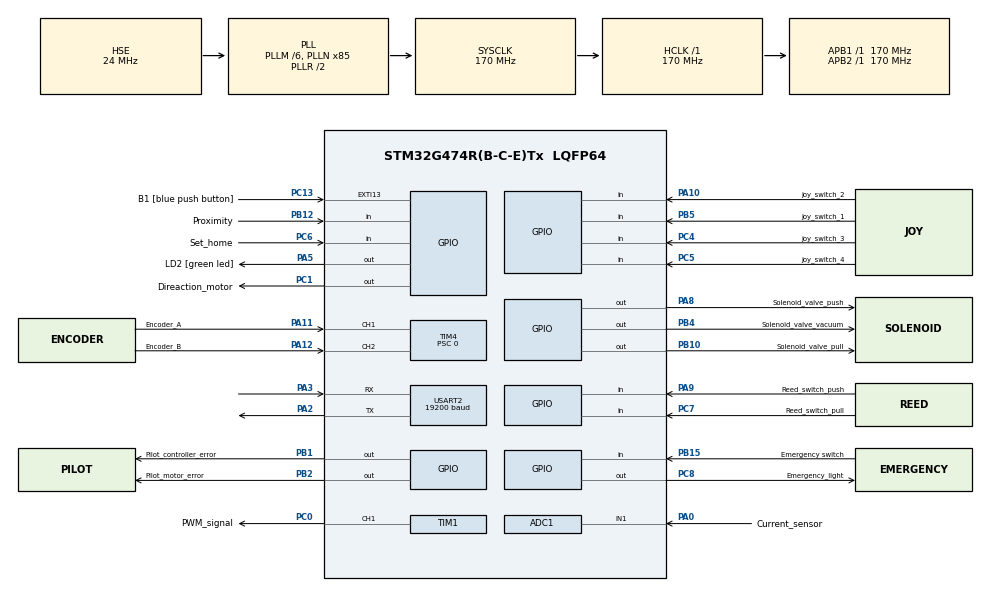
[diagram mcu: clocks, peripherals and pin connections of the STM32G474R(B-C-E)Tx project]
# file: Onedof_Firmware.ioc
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ADC1.Channel-0\#ChannelRegularConversion=ADC_CHANNEL_1
ADC1.ContinuousConvMode=ENABLE
ADC1.DMAContinuousRequests=ENABLE
ADC1.NbrOfConversion=1
ADC1.NbrOfConversionFlag=1
ADC1.OffsetNumber-0\#ChannelRegularConversion=ADC_OFFSET_NONE
ADC1.Rank-0\#ChannelRegularConversion=1
ADC1.SamplingTime-0\#ChannelRegularConversion=ADC_SAMPLETIME_2CYCLES_5
ADC1.master=1
ARM.CMSIS-DSP.1.15.0.CMSISJjDSP=Source
ARM.CMSIS.6.0.0.CMSISJjCORE=true
Dma.ADC1.0.Direction=DMA_PERIPH_TO_MEMORY
Dma.ADC1.0.EventEnable=DISABLE
Dma.ADC1.0.Instance=DMA1_Channel1
Dma.ADC1.0.MemDataAlignment=DMA_MDATAALIGN_HALFWORD
Dma.ADC1.0.MemInc=DMA_MINC_ENABLE
Dma.ADC1.0.Mode=DMA_CIRCULAR
Dma.ADC1.0.PeriphDataAlignment=DMA_PDATAALIGN_HALFWORD
Dma.ADC1.0.PeriphInc=DMA_PINC_DISABLE
Dma.ADC1.0.Polarity=HAL_DMAMUX_REQ_GEN_RISING
Dma.ADC1.0.Priority=DMA_PRIORITY_LOW
Dma.ADC1.0.RequestNumber=1
Dma.ADC1.0.SignalID=NONE
Dma.ADC1.0.SyncEnable=DISABLE
Dma.ADC1.0.SyncPolarity=HAL_DMAMUX_SYNC_NO_EVENT
Dma.ADC1.0.SyncRequestNumber=1
Dma.ADC1.0.SyncSignalID=NONE
Dma.Request0=ADC1
Dma.Request1=USART2_RX
Dma.Request2=USART2_TX
Dma.Request3=TIM1_CH1
Dma.TIM1_CH1.3.Direction=DMA_MEMORY_TO_PERIPH
Dma.TIM1_CH1.3.EventEnable=DISABLE
Dma.TIM1_CH1.3.Instance=DMA1_Channel4
Dma.TIM1_CH1.3.MemDataAlignment=DMA_MDATAALIGN_HALFWORD
Dma.TIM1_CH1.3.MemInc=DMA_MINC_ENABLE
Dma.TIM1_CH1.3.Mode=DMA_NORMAL
Dma.TIM1_CH1.3.PeriphDataAlignment=DMA_PDATAALIGN_HALFWORD
Dma.TIM1_CH1.3.PeriphInc=DMA_PINC_DISABLE
Dma.TIM1_CH1.3.Polarity=HAL_DMAMUX_REQ_GEN_RISING
Dma.TIM1_CH1.3.Priority=DMA_PRIORITY_LOW
Dma.TIM1_CH1.3.RequestNumber=1
Dma.TIM1_CH1.3.SignalID=NONE
Dma.TIM1_CH1.3.SyncEnable=DISABLE
Dma.TIM1_CH1.3.SyncPolarity=HAL_DMAMUX_SYNC_NO_EVENT
Dma.TIM1_CH1.3.SyncRequestNumber=1
Dma.TIM1_CH1.3.SyncSignalID=NONE
Dma.USART2_RX.1.Direction=DMA_PERIPH_TO_MEMORY
Dma.USART2_RX.1.EventEnable=DISABLE
Dma.USART2_RX.1.Instance=DMA1_Channel2
Dma.USART2_RX.1.MemDataAlignment=DMA_MDATAALIGN_BYTE
Dma.USART2_RX.1.MemInc=DMA_MINC_ENABLE
Dma.USART2_RX.1.Mode=DMA_NORMAL
Dma.USART2_RX.1.PeriphDataAlignment=DMA_PDATAALIGN_BYTE
Dma.USART2_RX.1.PeriphInc=DMA_PINC_DISABLE
Dma.USART2_RX.1.Polarity=HAL_DMAMUX_REQ_GEN_RISING
Dma.USART2_RX.1.Priority=DMA_PRIORITY_LOW
Dma.USART2_RX.1.RequestNumber=1
Dma.USART2_RX.1.SignalID=NONE
Dma.USART2_RX.1.SyncEnable=DISABLE
Dma.USART2_RX.1.SyncPolarity=HAL_DMAMUX_SYNC_NO_EVENT
Dma.USART2_RX.1.SyncRequestNumber=1
Dma.USART2_RX.1.SyncSignalID=NONE
Dma.USART2_TX.2.Direction=DMA_MEMORY_TO_PERIPH
Dma.USART2_TX.2.EventEnable=DISABLE
Dma.USART2_TX.2.Instance=DMA1_Channel3
Dma.USART2_TX.2.MemDataAlignment=DMA_MDATAALIGN_BYTE
Dma.USART2_TX.2.MemInc=DMA_MINC_ENABLE
Dma.USART2_TX.2.Mode=DMA_NORMAL
Dma.USART2_TX.2.PeriphDataAlignment=DMA_PDATAALIGN_BYTE
Dma.USART2_TX.2.PeriphInc=DMA_PINC_DISABLE
Dma.USART2_TX.2.Polarity=HAL_DMAMUX_REQ_GEN_RISING
Dma.USART2_TX.2.Priority=DMA_PRIORITY_LOW
Dma.USART2_TX.2.RequestNumber=1
Dma.USART2_TX.2.SignalID=NONE
Dma.USART2_TX.2.SyncEnable=DISABLE
Dma.USART2_TX.2.SyncPolarity=HAL_DMAMUX_SYNC_NO_EVENT
Dma.USART2_TX.2.SyncRequestNumber=1
Dma.USART2_TX.2.SyncSignalID=NONE
Mcu.Family=STM32G4
Mcu.Name=STM32G474R(B-C-E)Tx
Mcu.Package=LQFP64
NVIC.ADC1_2_IRQn=true\:0\:0\:false\:false\:true\:true\:true\:true
NVIC.DMA1_Channel1_IRQn=true\:0\:0\:false\:false\:true\:false\:true\:true
NVIC.DMA1_Channel2_IRQn=true\:0\:0\:false\:false\:true\:false\:true\:true
NVIC.DMA1_Channel3_IRQn=true\:0\:0\:false\:false\:true\:false\:true\:true
NVIC.DMA1_Channel4_IRQn=true\:0\:0\:false\:false\:true\:false\:true\:true
NVIC.EXTI15_10_IRQn=true\:0\:0\:false\:false\:true\:true\:true\:true
NVIC.PriorityGroup=NVIC_PRIORITYGROUP_4
NVIC.TIM1_TRG_COM_TIM17_IRQn=true\:0\:0\:false\:false\:true\:true\:true\:true
NVIC.TIM1_UP_TIM16_IRQn=true\:0\:0\:false\:false\:true\:true\:true\:true
NVIC.TIM3_IRQn=true\:0\:0\:false\:false\:true\:true\:true\:true
NVIC.TIM4_IRQn=true\:0\:0\:false\:false\:true\:true\:true\:true
NVIC.USART2_IRQn=true\:0\:0\:false\:false\:true\:true\:true\:true
PA0.GPIO_Label=Current_sensor
PA0.Mode=IN1-Single-Ended
PA0.Signal=ADC1_IN1
PA10.GPIO_Label=joy_switch_2
PA10.Signal=GPIO_Input
PA11.GPIO_Label=Encoder_A
PA11.Signal=S_TIM4_CH1
PA12.GPIO_Label=Encoder_B
PA12.Signal=S_TIM4_CH2
PA13.GPIO_Label=T_SWDIO
PA13.Mode=Trace_Asynchronous_SW
PA13.Signal=SYS_JTMS-SWDIO
PA14.GPIO_Label=T_SWCLK
PA14.Mode=Trace_Asynchronous_SW
PA14.Signal=SYS_JTCK-SWCLK
PA2.Mode=Asynchronous
PA2.Signal=USART2_TX
PA3.Mode=Asynchronous
PA3.Signal=USART2_RX
PA5.GPIO_Label=LD2 [green led]
PA5.Signal=GPIO_Output
PA8.GPIO_Label=Solenoid_valve_push
PA8.Signal=GPIO_Output
PA9.GPIO_Label=Reed_switch_push
PA9.Signal=GPIO_Input
PB1.GPIO_Label=Pilot_controller_error
PB1.Signal=GPIO_Output
PB10.GPIO_Label=Solenoid_valve_pull
PB10.Signal=GPIO_Output
PB12.GPIO_Label=Proximity
PB12.Signal=GPIO_Input
PB15.GPIO_Label=Emergency switch
PB15.Signal=GPIO_Input
PB2.GPIO_Label=Pilot_motor_error
PB2.Signal=GPIO_Output
PB3.GPIO_Label=T_SWO
PB3.Mode=Trace_Asynchronous_SW
PB3.Signal=SYS_JTDO-SWO
PB4.GPIO_Label=Solenoid_valve_vacuum
PB4.Signal=GPIO_Output
PB5.GPIO_Label=joy_switch_1
PB5.Signal=GPIO_Input
PC0.GPIO_Label=PWM_signal
PC0.Signal=S_TIM1_CH1
PC1.GPIO_Label=Direaction_motor
PC1.GPIO_Speed=GPIO_SPEED_FREQ_VERY_HIGH
PC1.Signal=GPIO_Output
PC13.GPIO_Label=B1 [blue push button]
PC13.Signal=GPXTI13
PC14-OSC32_IN.Mode=LSE-External-Oscillator
PC14-OSC32_IN.Signal=RCC_OSC32_IN
PC15-OSC32_OUT.Mode=LSE-External-Oscillator
PC15-OSC32_OUT.Signal=RCC_OSC32_OUT
PC4.GPIO_Label=joy_switch_3
PC4.Signal=GPIO_Input
PC5.GPIO_Label=joy_switch_4
PC5.Signal=GPIO_Input
PC6.GPIO_Label=Set_home
PC6.Signal=GPIO_Input
PC7.GPIO_Label=Reed_switch_pull
PC7.Signal=GPIO_Input
PC8.GPIO_Label=Emergency_light
PC8.Signal=GPIO_Output
PF0-OSC_IN.Mode=HSE-External-Oscillator
PF0-OSC_IN.Signal=RCC_OSC_IN
PF1-OSC_OUT.Mode=HSE-External-Oscillator
PF1-OSC_OUT.Signal=RCC_OSC_OUT
ProjectManager.HeapSize=0x200
ProjectManager.StackSize=0x400
ProjectManager.TargetToolchain=STM32CubeIDE
RCC.ADC12Freq_Value=170000000
RCC.ADC345Freq_Value=170000000
RCC.AHBFreq_Value=170000000
RCC.APB1Freq_Value=170000000
RCC.APB1TimFreq_Value=170000000
RCC.APB2Freq_Value=170000000
RCC.APB2TimFreq_Value=170000000
RCC.CortexFreq_Value=170000000
RCC.EXTERNAL_CLOCK_VALUE=12288000
RCC.HCLKFreq_Value=170000000
RCC.HSE_VALUE=24000000
RCC.HSI48_VALUE=48000000
RCC.HSI_VALUE=16000000
RCC.PLLM=RCC_PLLM_DIV6
RCC.PLLN=85
RCC.PLLSourceVirtual=RCC_PLLSOURCE_HSE
RCC.RTCClockSelection=RCC_RTCCLKSOURCE_LSE
RCC.SYSCLKFreq_VALUE=170000000
RCC.SYSCLKSource=RCC_SYSCLKSOURCE_PLLCLK
RCC.USBFreq_Value=170000000
RCC.VCOOutputFreq_Value=340000000
SH.S_TIM1_CH1.0=TIM1_CH1,PWM Generation1 CH1
SH.S_TIM4_CH1.0=TIM4_CH1,Encoder_Interface
SH.S_TIM4_CH2.0=TIM4_CH2,Encoder_Interface
TIM1.BreakState=TIM_BREAK_DISABLE
TIM1.Channel-PWM\ Generation1\ CH1=TIM_CHANNEL_1
TIM1.OCFastMode_PWM-PWM\ Generation1\ CH1=TIM_OCFAST_ENABLE
TIM1.PeriodNoDither=65535
TIM1.Prescaler=3
TIM16.PeriodNoDither=1145
TIM16.Prescaler=169
TIM3.PeriodNoDither=999
TIM3.Prescaler=169
TIM4.EncoderMode=TIM_ENCODERMODE_TI12
TIM4.IC1Filter=3
TIM4.IC2Filter=3
TIM4.IC2Polarity=TIM_ICPOLARITY_RISING
TIM4.Prescaler=0
USART2.BaudRate=19200
USART2.Parity=PARITY_EVEN
USART2.VirtualMode-Asynchronous=VM_ASYNC
USART2.WordLength=WORDLENGTH_9B
VP_ARM.CMSIS-DSP_VS_CMSISJjDSP_1.15.0_1.15.0.Mode=CMSISJjDSP
VP_ARM.CMSIS_VS_CMSISJjCORE_6.0.0_6.0.0.Mode=CMSISJjCORE
VP_SYS_VS_DBSignals.Mode=DisableDeadBatterySignals
VP_TIM16_VS_ClockSourceINT.Mode=Enable_Timer
VP_TIM16_VS_OPM.Mode=OPM_bit
VP_TIM1_VS_ClockSourceINT.Mode=Internal
VP_TIM3_VS_ClockSourceINT.Mode=Internal
board=NUCLEO-G474RE

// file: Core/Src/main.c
/* USER CODE BEGIN Header */
/**
  ******************************************************************************
  * @file           : main.c
  * @brief          : Main program body
  ******************************************************************************
  * @attention
  *
  * Copyright (c) 2024 STMicroelectronics.
  * All rights reserved.
  *
  * This software is licensed under terms that can be found in the LICENSE file
  * in the root directory of this software component.
  * If no LICENSE file comes with this software, it is provided AS-IS.
  *
  ******************************************************************************
  */
/* USER CODE END Header */
#include "main.h"

/* USER CODE BEGIN Includes */
#include "arm_math.h"
#include "pid.h"
#include "qei.h"
#include "lowpass.h"
#include "pwm.h"
#include "adc.h"
#include "joy.h"
#include "eff.h"
#include "ModBusRTU.h"
#include "Basesystem.h"
#include "state.h"
#include "Scurve.h"
#include "Trapezoidal.h"
#include "kalman_saifah.h"
#include "kalman.h"
/* USER CODE END Includes */

/* USER CODE BEGIN PD */
#define encoder_tim				htim4
#define encoder_channel			TIM_CHANNEL_ALL
#define encoder_ppr				((uint16_t)8192)
#define encoder_frequency		((uint16_t)1000)
#define encoder_cnt_period		((uint32_t)65536)

#define	proximity_gpio			GPIOB
#define proximity_pin			GPIO_PIN_12

#define reed_push_gpio			GPIOA
#define reed_push_pin			GPIO_PIN_9
#define reed_pull_gpio			GPIOC
#define reed_pull_pin			GPIO_PIN_7
#define solenoid_push_gpio		GPIOA
#define solenoid_push_pin		GPIO_PIN_8
#define solenoid_pull_gpio		GPIOB
#define solenoid_pull_pin		GPIO_PIN_10
#define vacuum_gpio				GPIOB
#define vacuum_pin				GPIO_PIN_4

#define current_gpio			GPIOA
#define current_pin				GPIO_PIN_0
#define current_adc				hadc1

#define pwm_tim					htim1
#define pwm_channel				TIM_CHANNEL_1
#define dir_gpio				GPIOC
#define dir_pin					GPIO_PIN_1

#define controller_error_gpio	GPIOB
#define controller_error_pin	GPIO_PIN_2
#define motor_error_gpio		GPIOB
#define motor_error_pin			GPIO_PIN_1
#define emer_light_gpio			GPIOC
#define emer_light_pin			GPIO_PIN_8
#define emer_gpio				GPIOB
#define emer_pin				GPIO_PIN_15
#define home_gpio				GPIOC
#define home_pin				GPIO_PIN_6

#define sw_1_gpio				GPIOB
#define sw_1_pin				GPIO_PIN_5
#define sw_2_gpio				GPIOA
#define sw_2_pin				GPIO_PIN_10
#define sw_3_gpio				GPIOC
#define sw_3_pin				GPIO_PIN_4
#define sw_4_gpio				GPIOC
#define sw_4_pin				GPIO_PIN_5

#define main_loop_tim			htim3
#define modbus_tim				htim5

/* USER CODE END PD */

ADC_HandleTypeDef hadc1;
DMA_HandleTypeDef hdma_adc1;

TIM_HandleTypeDef htim1;
TIM_HandleTypeDef htim3;
TIM_HandleTypeDef htim4;
TIM_HandleTypeDef htim16;
DMA_HandleTypeDef hdma_tim1_ch1;

UART_HandleTypeDef huart2;
DMA_HandleTypeDef hdma_usart2_rx;
DMA_HandleTypeDef hdma_usart2_tx;

/* USER CODE BEGIN PV */

// Temporary variable
uint64_t repeat_cheack = 0;
uint32_t limitswitch_test = 0;
float64_t test = 0.0;
float min_error = 1000;
uint64_t pid_time[2] = {0};
uint64_t sensor[6] = {0};
uint8_t first_check = 1;

// Set point
double setpoint = 0.0;

// State
enum{
	WAIT, RUNNING, HOMING, EMERGENCY
};
uint8_t jog_status[2] = {0}; // For jog mode only 0 for pick 1 for place
uint16_t mode = WAIT; /* For select mode from base system mode == 0 for stand by ,mode == 1 run point mode,
 	 	 	 	 	 mode == 2 run set shelve ,mode == 3 run jog mode(Full automatic pick & place)*/
uint8_t ready = 0;
POINT point;
HOME home;
EMER emer;
uint8_t testing = 0; // Testing mode or Not testing mode
uint64_t skip = 0;
uint8_t is_finish_pick = 0;
uint8_t is_finish_place = 0;
uint8_t pick_index = 0;
uint8_t place_index = 0;
uint64_t jog_delay = 300;

// Modbus
u16u8_t registerFrame[200] = {0};

// End effector
EFF eff;

// Joy
JOY joy;
int32_t jog = 0;

// Current sensor
ADC current_sensor;

// Update_motor variables
int32_t pwm_signal = 0;

// QEI variables
uint8_t is_update_encoder = 0;
QEI encoder;

// Low pass variable
LOWPASS lowpass;
LOWPASS lowpass_acc;

// Torque pid
//PID t_pid;

// Velocity pid
PID v_pid;
float v_kp_u = 0.00435;
float v_ki_u = 0.00015;
float v_kd_u = 0.0;
float v_kp_d = 0.00435; // 15
float v_ki_d = 0.00015; //3
float v_kd_d = 0.0;
double v_e = 0.0;
float v_output = 0;

// Position pid
PID p_pid;
float p_kp_u = 0.00075;  //0.1
float p_ki_u = 0.00006;	// 0.07
float p_kd_u = 0.0;
float p_kp_d = 0.00075; //0.1
float p_ki_d = 0.00006; // 0.07
float p_kd_d = 0.0;
double p_e = 0.0;
double p_output = 0;
uint8_t start_position_control = 0;
uint8_t is_finish_position = 0;

// Kalman filter
Kalman kalman;
float kalman_velocity = 0.0;
float kalman_velocity_z = 0.0;

// Motion variable
float x_axis_position = 0.0;
float acceleration = 0.0;

// Trajectory
volatile Scurve_GenStruct genScurveData;
volatile Scurve_EvaStruct evaScurveData;
trapezoidalGen genTrapezoidalData;
trapezoidalCompute computeTrapezoidalData;
double initial_position = 0.0;
double target_position = 0.0;
double max_velocity = 650.0;
double max_acceleration = 1000.0;
double max_jerk = 6000.0;
double setpoint_pos = 0.0;
double setpoint_vel = 0.0;

/* USER CODE END PV */

void SystemClock_Config(void);
static void MX_GPIO_Init(void);
static void MX_DMA_Init(void);
static void MX_TIM1_Init(void);
static void MX_TIM3_Init(void);
static void MX_TIM4_Init(void);
static void MX_ADC1_Init(void);
static void MX_TIM16_Init(void);
static void MX_USART2_UART_Init(void);
/* USER CODE BEGIN PFP */
void Update_torque_control(double s);
void Update_velocity_control(double s);
void Update_position_control(double s);
void Reset_main_variable();
float acc_compute(float v);
/* USER CODE END PFP */

int main(void)
{

  /* MCU Configuration--------------------------------------------------------*/

  /* Reset of all peripherals, Initializes the Flash interface and the Systick. */
  HAL_Init();

  /* Configure the system clock */
  SystemClock_Config();

  /* Initialize all configured peripherals */
  MX_GPIO_Init();
  MX_DMA_Init();
  MX_TIM1_Init();
  MX_TIM3_Init();
  MX_TIM4_Init();
  MX_ADC1_Init();
  MX_TIM16_Init();
  MX_USART2_UART_Init();
  /* USER CODE BEGIN 2 */
  // Modbus setting
  hmodbus.huart = &huart2;
  hmodbus.htim = &htim16;
  hmodbus.slaveAddress = 0x15;
  hmodbus.RegisterSize = 200;
  Modbus_init(&hmodbus, registerFrame);
  registerFrame[0x00].U16 = 22881; // Set default heart beat to "Ya"

  // Update command timer
  HAL_TIM_Base_Start_IT(&main_loop_tim);

  // PWM generator
  HAL_TIM_Base_Start(&pwm_tim);
  HAL_TIM_PWM_Start(&pwm_tim, pwm_channel);

  // Encoder reader
  HAL_TIM_Encoder_Start(&encoder_tim, encoder_channel);
  QEI_init(&encoder, encoder_ppr, encoder_frequency, encoder_cnt_period);

  // Current reader
  ADC_init(&current_adc, &current_sensor);

  // Kalman filter
//  KalmanFilter_Init(&saifah, A_data, B_data, C_data, G_data, Q_data, R_data, P_data, x_data
//		  , K_data, temp1_data, temp2_data, temp3_data, temp4_data, temp5_data, temp6_data, S_data);
  kalman_init(&kalman);

  // State initialize
  homing_init(&home);
  point_init(&point);
  emer_init(&emer);

  // PID initialize
  PID_init(&p_pid, p_kp_u, p_ki_u, p_kd_u, p_kp_d, p_ki_d, p_kd_d);
  PID_init(&v_pid, v_kp_u, v_ki_u, v_kd_u, v_kp_d, v_ki_d, v_kd_d);

  //Set point
  setpoint = 0.0;

  HAL_GPIO_WritePin(emer_light_gpio, emer_light_pin, RESET);
  HAL_GPIO_WritePin(vacuum_gpio, vacuum_pin, RESET);
  HAL_GPIO_WritePin(solenoid_pull_gpio, solenoid_pull_pin, RESET);
  HAL_GPIO_WritePin(solenoid_push_gpio, solenoid_push_pin, RESET);
  HAL_GPIO_WritePin(controller_error_gpio, controller_error_pin, RESET);
  HAL_GPIO_WritePin(motor_error_gpio, motor_error_pin, RESET);

  /* USER CODE END 2 */

  /* Infinite loop */
  while (1)
  {

    /* USER CODE BEGIN 3 */

		// Update modbus
		Modbus_Protocal_Worker();
		// Update reed switch
		Update_actual_eff(&eff, reed_pull_gpio, reed_pull_pin, reed_push_gpio, reed_push_pin);
		if(HAL_GPIO_ReadPin(emer_gpio, emer_pin) == 0){
			static uint64_t timestamp = 0;
			static uint8_t first = 1;
			if(first == 1){
				timestamp = HAL_GetTick() + 100; // Delay time in ms
				first = 0;
			}
			if(HAL_GetTick() > timestamp){
				if(HAL_GPIO_ReadPin(emer_gpio, emer_pin) == 0){
					Reset_main_variable();
					// Stop motor
					Update_pwm(&pwm_tim, pwm_channel, dir_gpio, dir_pin, 0);
					// Emergency light enable
					HAL_GPIO_WritePin(emer_light_gpio, emer_light_pin, SET);
					// Motor light enable
					HAL_GPIO_WritePin(motor_error_gpio, motor_error_pin, SET);
					// Deactivate end effector
					eff.solenoid_command[0] = 0;
					eff.solenoid_command[1] = 0;
					eff.solenoid_command[2] = 0;
					Update_eff(&eff, solenoid_pull_gpio, solenoid_pull_pin, solenoid_push_gpio, solenoid_push_pin, vacuum_gpio, vacuum_pin);
					mode = EMERGENCY;
				}
				first = 1;
			}
		}
		if(mode == WAIT){

			// Controller not running light enable
			HAL_GPIO_WritePin(controller_error_gpio, controller_error_pin, SET);

			// Update peripheral
			Vacuum_Status(&eff); // Vacuum
			Gripper_Movement_Status(&eff); // End effector
			// End effector update
			Update_eff(&eff, solenoid_pull_gpio, solenoid_pull_pin, solenoid_push_gpio, solenoid_push_pin, vacuum_gpio, vacuum_pin);

			//  homing command from Homing button and Base system Check command
			if(home.homing_command == 0){
				Set_Home(); // Refresh homing command from base system
				if(state == 0b0010){
					// Have command from base system
					home.homing_command = 1;
					registerFrame[0x01].U16 = 0b0000; // Reset data of base system status
					registerFrame[0x10].U16 = 0b0010; // Set data of moving status to Home
					state = registerFrame[0x10].U16;
					mode = HOMING;
				}
				else if(HAL_GPIO_ReadPin(home_gpio, home_pin) == 1){
					static uint64_t timestamp = 0;
					static uint8_t first = 1;
					if(first){
						timestamp = HAL_GetTick() + 100; // Delay time in ms
						first = 0;
					}
					if(HAL_GetTick() > timestamp){
						if(HAL_GPIO_ReadPin(home_gpio, home_pin) == 1){
							// Have command from home switch
							home.homing_command = 1;
							registerFrame[0x10].U16 = 0b0010; // Set data of moving status to Home
							state = registerFrame[0x10].U16;
							mode = HOMING;
						}
						first = 1;
					}
				}
			}
			else{
				// Nothing happen
				pwm_signal = 0;
				Update_pwm(&pwm_tim, pwm_channel, dir_gpio, dir_pin, pwm_signal); // Update main PWM signal
			}
		}
		if(mode == RUNNING){
			if(testing == 1){
				Update_joy(&joy);
				Update_qei(&encoder, &htim4);
				Update_lowpass(&lowpass, encoder.mmps);
				sensor[0] = __HAL_TIM_GET_COUNTER(&encoder_tim); // Encoder
				sensor[1] = HAL_GPIO_ReadPin(proximity_gpio, proximity_pin); // Proximity
				sensor[2] = HAL_GPIO_ReadPin(reed_pull_gpio, reed_pull_pin); // Reed switch pull
				sensor[3] = HAL_GPIO_ReadPin(reed_push_gpio, reed_push_pin); // Reed switch push
				sensor[4] = HAL_GPIO_ReadPin(emer_gpio, emer_pin); // Emergency button
				sensor[5] = HAL_GPIO_ReadPin(home_gpio, home_pin); // Home button
				Update_eff(&eff, solenoid_pull_gpio, solenoid_pull_pin, solenoid_push_gpio, solenoid_push_pin, vacuum_gpio, vacuum_pin);
			}
			else if(testing == 0){
				// End effector update
				Update_eff(&eff, solenoid_pull_gpio, solenoid_pull_pin, solenoid_push_gpio, solenoid_push_pin, vacuum_gpio, vacuum_pin);
				// Main controller loop
				if(is_update_encoder == 1){
					is_update_encoder = 0;
					Update_qei(&encoder, &htim4); // Update encoder
					Update_lowpass(&lowpass, encoder.mmps);
					acceleration = acc_compute(lowpass.filtered_data);
					if(state != 1){
						trapezoidalGeneration(&genTrapezoidalData, initial_position, target_position, max_velocity, max_acceleration);
						trapezoidalComputation(&computeTrapezoidalData, &genTrapezoidalData, max_velocity, max_acceleration);
						setpoint_pos = computeTrapezoidalData.set_pos;
						setpoint_vel = computeTrapezoidalData.set_vel;
						Update_position_control(setpoint_pos);
						Update_velocity_control(setpoint_vel + p_output);
						if(is_finish_position == 0){
							pwm_signal = -65535 + (((v_output - (-24)) * (65535 - (-65535))) / (24 - (-24)));
							Update_pwm(&pwm_tim, pwm_channel, dir_gpio, dir_pin, pwm_signal); // Update main PWM signal
						}
						else{
							pwm_signal = 6000;
							Update_pwm(&pwm_tim, pwm_channel, dir_gpio, dir_pin, pwm_signal); // Update main PWM signal
						}
					}
				}
				if(HAL_GPIO_ReadPin(home_gpio, home_pin) == 1){
					static uint64_t timestamp = 0;
					static uint8_t first = 1;
					if(first){
						timestamp = HAL_GetTick() + 100; // Delay time in ms
						first = 0;
					}
					if(HAL_GetTick() > timestamp){
						if(HAL_GPIO_ReadPin(home_gpio, home_pin) == 1){
							// Have command from home switch
							home.homing_command = 1;
							registerFrame[0x10].U16 = 0b0010; // Set data of moving status to Home
							state = registerFrame[0x10].U16;
							mode = HOMING;
						}
						first = 1;
					}
				}
				if(registerFrame[0x01].U16 != 0){

					// Check command from base system status
					//  homing command from Homing button and Base system Check command
					Set_Home(); // Refresh homing command from base system
					if(state == 0b0010){
						// Have command from base system
						mode = HOMING; // Go to wait mode for Deactivate end effector
						home.homing_command = 1;
						registerFrame[0x01].U16 = 0b0000; // Reset data of base system status
						registerFrame[0x10].U16 = 0b0010; // Set data of moving status to Home
						state = registerFrame[0x10].U16 = 0b0010;
					}
					// Go point command from base system
					else if(Run_Point_Mode() == 1){
						registerFrame[0x10].U16 = 0b00010000;
						state = registerFrame[0x10].U16;
//						x_axis_position = registerFrame[0x40].U16 / 10.0;
						setpoint = Set_Goal_Point();
						ready = 1;
					}
					// Set shelves command from base system
					else if(Set_Shelves() == 1){
						joy.shelves_position[0] = 0;
						joy.shelves_position[1] = 0;
						joy.shelves_position[2] = 0;
						joy.shelves_position[3] = 0;
						joy.shelves_position[4] = 0;
						ready = 1;
					}
					// Run jog mode from base system
					else if(Run_Jog_Mode() == 1){
						SetPick_PlaceOrder();
						jog_status[0] = 1; // Go pick first
						jog_status[1] = 0;
						registerFrame[0x10].U16 = 4;
						state = registerFrame[0x10].U16;
						strcpy(Jogmode, "Go to Pick...");
						ready = 1;
						skip = 0;
					}
				}
				else{
					// Check state from z moving status
					// Set shelve
					if(state == 1){
						if(ready == 1){
							static uint8_t i = 0;
							static uint8_t repeat = 0;
							static int32_t speed = 20000;
							static uint8_t swap = 0;
							// Update joy stick command
							Update_joy(&joy);
							if(joy.is_place == 0){
								repeat = 0;
							}
							if(i > 5){
								registerFrame[0x23].U16 = joy.shelves_position[0];  //1st Shelve Position
								registerFrame[0x24].U16 = joy.shelves_position[1];  //2nd Shelve Position
								registerFrame[0x25].U16 = joy.shelves_position[2];  //3rd Shelve Position
								registerFrame[0x26].U16 = joy.shelves_position[3];  //4th Shelve Position
								registerFrame[0x27].U16 = joy.shelves_position[4];  //5th Shelve Position
								state = 0b0000;
								registerFrame[0x10].U16 = state;
								ready = 0;
								i = 0;
								initial_position = encoder.mm;
								target_position = encoder.mm;

							}
							else if (!joy.s_1 && joy.s_2 && joy.s_3 && joy.s_4){
								if(joy.is_place == 1){
									if(repeat != 1){
										if(swap == 0){
											pwm_signal = speed;
											Update_pwm(&pwm_tim, pwm_channel, dir_gpio, dir_pin, pwm_signal);
										}
										else{
											x_axis_position = x_axis_position + 5.0;
										}
										repeat = 1;
									}
								}
							}
							else if(joy.s_1 && !joy.s_2 && joy.s_3 && joy.s_4){
								// switch 2 had pushed
								if(repeat != 1){
									if(swap == 0){
										swap = 1;
									}
									else{
										swap = 0;
									}
									repeat = 1;
								}
							}
							else if (joy.s_1 && joy.s_2 && !joy.s_3 && joy.s_4){
								// switch 3 had pushed
								// save data for base system
								if(joy.is_place == 1){
									if(repeat != 1){
										repeat = 1;
										joy.shelves_position[i] = (uint16_t)(encoder.mm * 10);
										i++;
									}
								}
							}
							else if (joy.s_1 && joy.s_2 && joy.s_3 && !joy.s_4){
								// switch 4 had pushed
								if(joy.is_place == 1){
									if(repeat != 1){
										repeat = 1;
										if(swap == 0){
											pwm_signal = -(speed - 10000);
											Update_pwm(&pwm_tim, pwm_channel, dir_gpio, dir_pin, pwm_signal);
										}
										else{
											x_axis_position = x_axis_position - 5.0;
										}
									}
								}
							}
							else{
								pwm_signal = 8000;
								Update_pwm(&pwm_tim, pwm_channel, dir_gpio, dir_pin, pwm_signal);
							}
						}
					}
					// Go pick
					else if(state == 4){
						static uint8_t pass = 0;
						if(ready == 1){
							if(pick_index == 5){
								pick_index = 0;
								skip = 1;
							}
							else if(pick_index >= 0 && pick_index < 5){
								if(pick_index){
									pass = 0;
								}
								// Set up trajectory
								initial_position = encoder.mm;
								target_position = (float)(joy.shelves_position[(Pick[pick_index] - 1)]) / 10.0;
								computeTrapezoidalData.t = 0;
								computeTrapezoidalData.is_finish = 0;
								x_axis_position = 10.0;
								p_e = 0.0;
								is_finish_position = 0;
								ready = 0;
								skip = 0;
							}
						}
//						&& is_finish_position == 1
						if(computeTrapezoidalData.is_finish == 1 && ready == 0 && skip == 0){
							if(pass == 0){
								eff.solenoid_command[0] = 1;
								eff.solenoid_command[1] = 1; // Push forward
								eff.solenoid_command[2] = 0;
								pass = 1;
							}
							if(pass == 1){
								if((eff.actual_status[0] == 0) && (eff.actual_status[1] == 1)){
									static uint64_t timestamp = 0;
									static uint8_t first = 1;
									if(first == 1){
										timestamp = HAL_GetTick() + jog_delay;
										first = 0;

									}
									if(HAL_GetTick() > timestamp){
										// End effector is push
										eff.solenoid_command[0] = 1;
										eff.solenoid_command[1] = 0;
										eff.solenoid_command[2] = 1; // Pull back
										pass = 2;
										first = 1;
									}
								}
							}
							if(pass == 2){
								if((eff.actual_status[0] == 1) && (eff.actual_status[1] == 0)){
									// Deactivate solenoid valve
									eff.solenoid_command[1] = 0;
									eff.solenoid_command[2] = 0;
									pick_index++;
									ready = 1;
									registerFrame[0x10].U16 = 8;
									state = registerFrame[0x10].U16; // Then go place
									pass = 0;
								}
							}
						}
					}
					// Go place
					else if(state == 8){
						static uint8_t pass = 0;
						if(ready == 1){
							if(place_index >= 0 && place_index < 5){
								if(place_index == 0){
									pass = 0;
								}
								// Set up trajectory
								initial_position = encoder.mm;
								target_position = ((float)(joy.shelves_position[(Place[place_index] - 1)]) / 10.0) + 10.0;
								computeTrapezoidalData.t = 0;
								computeTrapezoidalData.is_finish = 0;
								x_axis_position = -10.0;
								p_e = 0.0;
								is_finish_position = 0;
								ready = 0;
								skip = 0;
							}
						}
						if(computeTrapezoidalData.is_finish == 1 && ready == 0 && skip == 0){
							if(pass == 0){
								eff.solenoid_command[1] = 1; // Push forward
								eff.solenoid_command[2] = 0;
								pass = 1;
							}
							if(pass == 1){
								if((eff.actual_status[0] == 0) && (eff.actual_status[1] == 1)){
									static uint64_t timestamp = 0;
									static uint8_t first = 1;
									if(first == 1){
										timestamp = HAL_GetTick() + jog_delay;
										first = 0;
									}
									if(HAL_GetTick() > timestamp){
										// End effector is push
										eff.solenoid_command[0] = 0;
										eff.solenoid_command[1] = 0;
										eff.solenoid_command[2] = 1; // Pull back
										pass = 2;
										first = 1;
									}
								}
							}
							if(pass == 2){
								if((eff.actual_status[0] == 1) && (eff.actual_status[1] == 0)){
									// Deactivate solenoid valve
									eff.solenoid_command[0] = 0;
									eff.solenoid_command[1] = 0;
									eff.solenoid_command[2] = 0;
									pass = 0;
									place_index++;
									ready = 1;
									registerFrame[0x10].U16 = 4;
									state = registerFrame[0x10].U16; // Then go place
									if(place_index == 5){
										place_index = 0;
										state = 0b0000;
										registerFrame[0x10].U16 = state;
										ready = 0;
										skip = 1;
									}
								}
							}
						}
					}
					// Run point mode
					else if(state == 16){
						if(ready == 1){
							static uint64_t timestamp = 0;
							static uint8_t first = 1;
							if(first){
								timestamp = HAL_GetTick() + 200;
								first = 0;
							}
							if(HAL_GetTick() > timestamp){
								initial_position = encoder.mm;
								target_position = setpoint;
								computeTrapezoidalData.t = 0;
								p_e = 0;
								ready = 0;
								first = 1;
							}
						}
						else if((computeTrapezoidalData.is_finish == 1) && (ready == 0)){
							static uint64_t timestamp = 0;
							static uint8_t first = 1;
							if(first){
								timestamp = HAL_GetTick() + 500;
								first = 0;
							}
							if(HAL_GetTick() > timestamp){
								state = 0b0000;
								registerFrame[0x10].U16 = 0b0000;
								first = 1;
							}
						}
					}
					else {
						// Update peripheral
						Vacuum_Status(&eff); // Vacuum
						Gripper_Movement_Status(&eff); // End effector
					}

				}

			}
		}
		if(mode == HOMING){
			if(home.is_home == 1){
				home.is_home = 0;
				registerFrame[0x10].U16 = 0b0000; // Reset data of moving status
				// Finish homing state at 0 mm
				state = registerFrame[0x10].U16;

				Reset_main_variable();
				// Change Mode
				mode = RUNNING;

				// Controller not running light disable
				HAL_GPIO_WritePin(controller_error_gpio, controller_error_pin, RESET);
			}
		}
		if(mode == EMERGENCY){
			if(HAL_GPIO_ReadPin(GPIOB, GPIO_PIN_15) == 1){
				HAL_GPIO_WritePin(emer_light_gpio, emer_light_pin, RESET);
				// Motor light disable
				HAL_GPIO_WritePin(motor_error_gpio, motor_error_pin, RESET);
				mode = WAIT;
			}
		}
  }
  /* USER CODE END 3 */
}

void SystemClock_Config(void)
{
  RCC_OscInitTypeDef RCC_OscInitStruct = {0};
  RCC_ClkInitTypeDef RCC_ClkInitStruct = {0};

  /** Configure the main internal regulator output voltage
  */
  HAL_PWREx_ControlVoltageScaling(PWR_REGULATOR_VOLTAGE_SCALE1_BOOST);

  /** Initializes the RCC Oscillators according to the specified parameters
  * in the RCC_OscInitTypeDef structure.
  */
  RCC_OscInitStruct.OscillatorType = RCC_OSCILLATORTYPE_HSE;
  RCC_OscInitStruct.HSEState = RCC_HSE_ON;
  RCC_OscInitStruct.PLL.PLLState = RCC_PLL_ON;
  RCC_OscInitStruct.PLL.PLLSource = RCC_PLLSOURCE_HSE;
  RCC_OscInitStruct.PLL.PLLM = RCC_PLLM_DIV6;
  RCC_OscInitStruct.PLL.PLLN = 85;
  RCC_OscInitStruct.PLL.PLLP = RCC_PLLP_DIV2;
  RCC_OscInitStruct.PLL.PLLQ = RCC_PLLQ_DIV2;
  RCC_OscInitStruct.PLL.PLLR = RCC_PLLR_DIV2;
  if (HAL_RCC_OscConfig(&RCC_OscInitStruct) != HAL_OK)
  {
    Error_Handler();
  }

  /** Initializes the CPU, AHB and APB buses clocks
  */
  RCC_ClkInitStruct.ClockType = RCC_CLOCKTYPE_HCLK|RCC_CLOCKTYPE_SYSCLK
                              |RCC_CLOCKTYPE_PCLK1|RCC_CLOCKTYPE_PCLK2;
  RCC_ClkInitStruct.SYSCLKSource = RCC_SYSCLKSOURCE_PLLCLK;
  RCC_ClkInitStruct.AHBCLKDivider = RCC_SYSCLK_DIV1;
  RCC_ClkInitStruct.APB1CLKDivider = RCC_HCLK_DIV1;
  RCC_ClkInitStruct.APB2CLKDivider = RCC_HCLK_DIV1;

  if (HAL_RCC_ClockConfig(&RCC_ClkInitStruct, FLASH_LATENCY_4) != HAL_OK)
  {
    Error_Handler();
  }
}

static void MX_ADC1_Init(void)
{

  ADC_MultiModeTypeDef multimode = {0};
  ADC_ChannelConfTypeDef sConfig = {0};

  /** Common config
  */
  hadc1.Instance = ADC1;
  hadc1.Init.ClockPrescaler = ADC_CLOCK_SYNC_PCLK_DIV4;
  hadc1.Init.Resolution = ADC_RESOLUTION_12B;
  hadc1.Init.DataAlign = ADC_DATAALIGN_RIGHT;
  hadc1.Init.GainCompensation = 0;
  hadc1.Init.ScanConvMode = ADC_SCAN_DISABLE;
  hadc1.Init.EOCSelection = ADC_EOC_SINGLE_CONV;
  hadc1.Init.LowPowerAutoWait = DISABLE;
  hadc1.Init.ContinuousConvMode = ENABLE;
  hadc1.Init.NbrOfConversion = 1;
  hadc1.Init.DiscontinuousConvMode = DISABLE;
  hadc1.Init.ExternalTrigConv = ADC_SOFTWARE_START;
  hadc1.Init.ExternalTrigConvEdge = ADC_EXTERNALTRIGCONVEDGE_NONE;
  hadc1.Init.DMAContinuousRequests = ENABLE;
  hadc1.Init.Overrun = ADC_OVR_DATA_PRESERVED;
  hadc1.Init.OversamplingMode = DISABLE;
  if (HAL_ADC_Init(&hadc1) != HAL_OK)
  {
    Error_Handler();
  }

  /** Configure the ADC multi-mode
  */
  multimode.Mode = ADC_MODE_INDEPENDENT;
  if (HAL_ADCEx_MultiModeConfigChannel(&hadc1, &multimode) != HAL_OK)
  {
    Error_Handler();
  }

  /** Configure Regular Channel
  */
  sConfig.Channel = ADC_CHANNEL_1;
  sConfig.Rank = ADC_REGULAR_RANK_1;
  sConfig.SamplingTime = ADC_SAMPLETIME_2CYCLES_5;
  sConfig.SingleDiff = ADC_SINGLE_ENDED;
  sConfig.OffsetNumber = ADC_OFFSET_NONE;
  sConfig.Offset = 0;
  if (HAL_ADC_ConfigChannel(&hadc1, &sConfig) != HAL_OK)
  {
    Error_Handler();
  }

}

static void MX_TIM1_Init(void)
{

  TIM_ClockConfigTypeDef sClockSourceConfig = {0};
  TIM_MasterConfigTypeDef sMasterConfig = {0};
  TIM_OC_InitTypeDef sConfigOC = {0};
  TIM_BreakDeadTimeConfigTypeDef sBreakDeadTimeConfig = {0};

  htim1.Instance = TIM1;
  htim1.Init.Prescaler = 3;
  htim1.Init.CounterMode = TIM_COUNTERMODE_UP;
  htim1.Init.Period = 65535;
  htim1.Init.ClockDivision = TIM_CLOCKDIVISION_DIV1;
  htim1.Init.RepetitionCounter = 0;
  htim1.Init.AutoReloadPreload = TIM_AUTORELOAD_PRELOAD_DISABLE;
  if (HAL_TIM_Base_Init(&htim1) != HAL_OK)
  {
    Error_Handler();
  }
  sClockSourceConfig.ClockSource = TIM_CLOCKSOURCE_INTERNAL;
  if (HAL_TIM_ConfigClockSource(&htim1, &sClockSourceConfig) != HAL_OK)
  {
    Error_Handler();
  }
  if (HAL_TIM_PWM_Init(&htim1) != HAL_OK)
  {
    Error_Handler();
  }
  sMasterConfig.MasterOutputTrigger = TIM_TRGO_RESET;
  sMasterConfig.MasterOutputTrigger2 = TIM_TRGO2_RESET;
  sMasterConfig.MasterSlaveMode = TIM_MASTERSLAVEMODE_DISABLE;
  if (HAL_TIMEx_MasterConfigSynchronization(&htim1, &sMasterConfig) != HAL_OK)
  {
    Error_Handler();
  }
  sConfigOC.OCMode = TIM_OCMODE_PWM1;
  sConfigOC.Pulse = 0;
  sConfigOC.OCPolarity = TIM_OCPOLARITY_HIGH;
  sConfigOC.OCNPolarity = TIM_OCNPOLARITY_HIGH;
  sConfigOC.OCFastMode = TIM_OCFAST_ENABLE;
  sConfigOC.OCIdleState = TIM_OCIDLESTATE_RESET;
  sConfigOC.OCNIdleState = TIM_OCNIDLESTATE_RESET;
  if (HAL_TIM_PWM_ConfigChannel(&htim1, &sConfigOC, TIM_CHANNEL_1) != HAL_OK)
  {
    Error_Handler();
  }
  sBreakDeadTimeConfig.OffStateRunMode = TIM_OSSR_DISABLE;
  sBreakDeadTimeConfig.OffStateIDLEMode = TIM_OSSI_DISABLE;
  sBreakDeadTimeConfig.LockLevel = TIM_LOCKLEVEL_OFF;
  sBreakDeadTimeConfig.DeadTime = 0;
  sBreakDeadTimeConfig.BreakState = TIM_BREAK_DISABLE;
  sBreakDeadTimeConfig.BreakPolarity = TIM_BREAKPOLARITY_HIGH;
  sBreakDeadTimeConfig.BreakFilter = 0;
  sBreakDeadTimeConfig.BreakAFMode = TIM_BREAK_AFMODE_INPUT;
  sBreakDeadTimeConfig.Break2State = TIM_BREAK2_DISABLE;
  sBreakDeadTimeConfig.Break2Polarity = TIM_BREAK2POLARITY_HIGH;
  sBreakDeadTimeConfig.Break2Filter = 0;
  sBreakDeadTimeConfig.Break2AFMode = TIM_BREAK_AFMODE_INPUT;
  sBreakDeadTimeConfig.AutomaticOutput = TIM_AUTOMATICOUTPUT_DISABLE;
  if (HAL_TIMEx_ConfigBreakDeadTime(&htim1, &sBreakDeadTimeConfig) != HAL_OK)
  {
    Error_Handler();
  }
  HAL_TIM_MspPostInit(&htim1);

}

static void MX_TIM3_Init(void)
{

  TIM_ClockConfigTypeDef sClockSourceConfig = {0};
  TIM_MasterConfigTypeDef sMasterConfig = {0};

  htim3.Instance = TIM3;
  htim3.Init.Prescaler = 169;
  htim3.Init.CounterMode = TIM_COUNTERMODE_UP;
  htim3.Init.Period = 999;
  htim3.Init.ClockDivision = TIM_CLOCKDIVISION_DIV1;
  htim3.Init.AutoReloadPreload = TIM_AUTORELOAD_PRELOAD_DISABLE;
  if (HAL_TIM_Base_Init(&htim3) != HAL_OK)
  {
    Error_Handler();
  }
  sClockSourceConfig.ClockSource = TIM_CLOCKSOURCE_INTERNAL;
  if (HAL_TIM_ConfigClockSource(&htim3, &sClockSourceConfig) != HAL_OK)
  {
    Error_Handler();
  }
  sMasterConfig.MasterOutputTrigger = TIM_TRGO_RESET;
  sMasterConfig.MasterSlaveMode = TIM_MASTERSLAVEMODE_DISABLE;
  if (HAL_TIMEx_MasterConfigSynchronization(&htim3, &sMasterConfig) != HAL_OK)
  {
    Error_Handler();
  }

}

static void MX_TIM4_Init(void)
{

  TIM_Encoder_InitTypeDef sConfig = {0};
  TIM_MasterConfigTypeDef sMasterConfig = {0};

  htim4.Instance = TIM4;
  htim4.Init.Prescaler = 0;
  htim4.Init.CounterMode = TIM_COUNTERMODE_UP;
  htim4.Init.Period = 65535;
  htim4.Init.ClockDivision = TIM_CLOCKDIVISION_DIV1;
  htim4.Init.AutoReloadPreload = TIM_AUTORELOAD_PRELOAD_DISABLE;
  sConfig.EncoderMode = TIM_ENCODERMODE_TI12;
  sConfig.IC1Polarity = TIM_ICPOLARITY_RISING;
  sConfig.IC1Selection = TIM_ICSELECTION_DIRECTTI;
  sConfig.IC1Prescaler = TIM_ICPSC_DIV1;
  sConfig.IC1Filter = 3;
  sConfig.IC2Polarity = TIM_ICPOLARITY_RISING;
  sConfig.IC2Selection = TIM_ICSELECTION_DIRECTTI;
  sConfig.IC2Prescaler = TIM_ICPSC_DIV1;
  sConfig.IC2Filter = 3;
  if (HAL_TIM_Encoder_Init(&htim4, &sConfig) != HAL_OK)
  {
    Error_Handler();
  }
  sMasterConfig.MasterOutputTrigger = TIM_TRGO_RESET;
  sMasterConfig.MasterSlaveMode = TIM_MASTERSLAVEMODE_DISABLE;
  if (HAL_TIMEx_MasterConfigSynchronization(&htim4, &sMasterConfig) != HAL_OK)
  {
    Error_Handler();
  }

}

static void MX_TIM16_Init(void)
{

  htim16.Instance = TIM16;
  htim16.Init.Prescaler = 169;
  htim16.Init.CounterMode = TIM_COUNTERMODE_UP;
  htim16.Init.Period = 1145;
  htim16.Init.ClockDivision = TIM_CLOCKDIVISION_DIV1;
  htim16.Init.RepetitionCounter = 0;
  htim16.Init.AutoReloadPreload = TIM_AUTORELOAD_PRELOAD_DISABLE;
  if (HAL_TIM_Base_Init(&htim16) != HAL_OK)
  {
    Error_Handler();
  }
  if (HAL_TIM_OnePulse_Init(&htim16, TIM_OPMODE_SINGLE) != HAL_OK)
  {
    Error_Handler();
  }

}

static void MX_USART2_UART_Init(void)
{

  huart2.Instance = USART2;
  huart2.Init.BaudRate = 19200;
  huart2.Init.WordLength = UART_WORDLENGTH_9B;
  huart2.Init.StopBits = UART_STOPBITS_1;
  huart2.Init.Parity = UART_PARITY_EVEN;
  huart2.Init.Mode = UART_MODE_TX_RX;
  huart2.Init.HwFlowCtl = UART_HWCONTROL_NONE;
  huart2.Init.OverSampling = UART_OVERSAMPLING_16;
  huart2.Init.OneBitSampling = UART_ONE_BIT_SAMPLE_DISABLE;
  huart2.Init.ClockPrescaler = UART_PRESCALER_DIV1;
  huart2.AdvancedInit.AdvFeatureInit = UART_ADVFEATURE_NO_INIT;
  if (HAL_UART_Init(&huart2) != HAL_OK)
  {
    Error_Handler();
  }
  if (HAL_UARTEx_SetTxFifoThreshold(&huart2, UART_TXFIFO_THRESHOLD_1_8) != HAL_OK)
  {
    Error_Handler();
  }
  if (HAL_UARTEx_SetRxFifoThreshold(&huart2, UART_RXFIFO_THRESHOLD_1_8) != HAL_OK)
  {
    Error_Handler();
  }
  if (HAL_UARTEx_DisableFifoMode(&huart2) != HAL_OK)
  {
    Error_Handler();
  }

}

static void MX_DMA_Init(void)
{

  /* DMA controller clock enable */
  __HAL_RCC_DMAMUX1_CLK_ENABLE();
  __HAL_RCC_DMA1_CLK_ENABLE();

  /* DMA interrupt init */
  /* DMA1_Channel1_IRQn interrupt configuration */
  HAL_NVIC_SetPriority(DMA1_Channel1_IRQn, 0, 0);
  HAL_NVIC_EnableIRQ(DMA1_Channel1_IRQn);
  /* DMA1_Channel2_IRQn interrupt configuration */
  HAL_NVIC_SetPriority(DMA1_Channel2_IRQn, 0, 0);
  HAL_NVIC_EnableIRQ(DMA1_Channel2_IRQn);
  /* DMA1_Channel3_IRQn interrupt configuration */
  HAL_NVIC_SetPriority(DMA1_Channel3_IRQn, 0, 0);
  HAL_NVIC_EnableIRQ(DMA1_Channel3_IRQn);
  /* DMA1_Channel4_IRQn interrupt configuration */
  HAL_NVIC_SetPriority(DMA1_Channel4_IRQn, 0, 0);
  HAL_NVIC_EnableIRQ(DMA1_Channel4_IRQn);

}

static void MX_GPIO_Init(void)
{
  GPIO_InitTypeDef GPIO_InitStruct = {0};

  /* GPIO Ports Clock Enable */
  __HAL_RCC_GPIOC_CLK_ENABLE();
  __HAL_RCC_GPIOF_CLK_ENABLE();
  __HAL_RCC_GPIOA_CLK_ENABLE();
  __HAL_RCC_GPIOB_CLK_ENABLE();

  /*Configure GPIO pin Output Level */
  HAL_GPIO_WritePin(GPIOC, Direaction_motor_Pin|Emergency_light_Pin, GPIO_PIN_RESET);

  /*Configure GPIO pin Output Level */
  HAL_GPIO_WritePin(GPIOA, LD2_Pin|Solenoid_valve_push_Pin, GPIO_PIN_RESET);

  /*Configure GPIO pin Output Level */
  HAL_GPIO_WritePin(GPIOB, Pilot_controller_error_Pin|Pilot_motor_error_Pin|Solenoid_valve_pull_Pin|Solenoid_valve_vacuum_Pin, GPIO_PIN_RESET);

  /*Configure GPIO pin : B1_Pin */
  GPIO_InitStruct.Pin = B1_Pin;
  GPIO_InitStruct.Mode = GPIO_MODE_IT_RISING;
  GPIO_InitStruct.Pull = GPIO_NOPULL;
  HAL_GPIO_Init(B1_GPIO_Port, &GPIO_InitStruct);

  /*Configure GPIO pin : Direaction_motor_Pin */
  GPIO_InitStruct.Pin = Direaction_motor_Pin;
  GPIO_InitStruct.Mode = GPIO_MODE_OUTPUT_PP;
  GPIO_InitStruct.Pull = GPIO_NOPULL;
  GPIO_InitStruct.Speed = GPIO_SPEED_FREQ_VERY_HIGH;
  HAL_GPIO_Init(Direaction_motor_GPIO_Port, &GPIO_InitStruct);

  /*Configure GPIO pins : LD2_Pin Solenoid_valve_push_Pin */
  GPIO_InitStruct.Pin = LD2_Pin|Solenoid_valve_push_Pin;
  GPIO_InitStruct.Mode = GPIO_MODE_OUTPUT_PP;
  GPIO_InitStruct.Pull = GPIO_NOPULL;
  GPIO_InitStruct.Speed = GPIO_SPEED_FREQ_LOW;
  HAL_GPIO_Init(GPIOA, &GPIO_InitStruct);

  /*Configure GPIO pins : joy_switch_3_Pin joy_switch_4_Pin Set_home_Pin Reed_switch_pull_Pin */
  GPIO_InitStruct.Pin = joy_switch_3_Pin|joy_switch_4_Pin|Set_home_Pin|Reed_switch_pull_Pin;
  GPIO_InitStruct.Mode = GPIO_MODE_INPUT;
  GPIO_InitStruct.Pull = GPIO_NOPULL;
  HAL_GPIO_Init(GPIOC, &GPIO_InitStruct);

  /*Configure GPIO pins : Pilot_controller_error_Pin Pilot_motor_error_Pin Solenoid_valve_pull_Pin Solenoid_valve_vacuum_Pin */
  GPIO_InitStruct.Pin = Pilot_controller_error_Pin|Pilot_motor_error_Pin|Solenoid_valve_pull_Pin|Solenoid_valve_vacuum_Pin;
  GPIO_InitStruct.Mode = GPIO_MODE_OUTPUT_PP;
  GPIO_InitStruct.Pull = GPIO_NOPULL;
  GPIO_InitStruct.Speed = GPIO_SPEED_FREQ_LOW;
  HAL_GPIO_Init(GPIOB, &GPIO_InitStruct);

  /*Configure GPIO pins : Proximity_Pin Emergency_switch_Pin joy_switch_1_Pin */
  GPIO_InitStruct.Pin = Proximity_Pin|Emergency_switch_Pin|joy_switch_1_Pin;
  GPIO_InitStruct.Mode = GPIO_MODE_INPUT;
  GPIO_InitStruct.Pull = GPIO_NOPULL;
  HAL_GPIO_Init(GPIOB, &GPIO_InitStruct);

  /*Configure GPIO pin : Emergency_light_Pin */
  GPIO_InitStruct.Pin = Emergency_light_Pin;
  GPIO_InitStruct.Mode = GPIO_MODE_OUTPUT_PP;
  GPIO_InitStruct.Pull = GPIO_NOPULL;
  GPIO_InitStruct.Speed = GPIO_SPEED_FREQ_LOW;
  HAL_GPIO_Init(Emergency_light_GPIO_Port, &GPIO_InitStruct);

  /*Configure GPIO pins : Reed_switch_push_Pin joy_switch_2_Pin */
  GPIO_InitStruct.Pin = Reed_switch_push_Pin|joy_switch_2_Pin;
  GPIO_InitStruct.Mode = GPIO_MODE_INPUT;
  GPIO_InitStruct.Pull = GPIO_NOPULL;
  HAL_GPIO_Init(GPIOA, &GPIO_InitStruct);

  /* EXTI interrupt init*/
  HAL_NVIC_SetPriority(EXTI15_10_IRQn, 0, 0);
  HAL_NVIC_EnableIRQ(EXTI15_10_IRQn);

}

/* USER CODE BEGIN 4 */
// Main timer interrupt for run program with accuracy time
void HAL_TIM_PeriodElapsedCallback(TIM_HandleTypeDef *htim){
	// Run with 1000 Hz
	if(htim == &htim3){
		// Routine
		if(registerFrame[0x00].U16 == 18537){
			registerFrame[0x00].U16 = 22881;
		}
		registerFrame[0x04].U16 = eff.update_actual_status[0x04].U16;	// Gripper Movement Actual Status(0x10)
		registerFrame[0x10].U16 = state;							// Z-axis Moving Status(0x10)
		registerFrame[0x11].U16 = (uint16_t)(encoder.mm * 10.0);		// Z-axis Actual Position(0x11)
		registerFrame[0x12].U16 = (int16_t)(encoder.mmps * 10.0);		// Z-axis Actual Speed (0x12)
		registerFrame[0x13].U16 = (int16_t)(acceleration * 10.0);	// Z-axis Acceleration(0x13)
		registerFrame[0x40].U16 = (int16_t)(x_axis_position * 10.0);	// X-axis Actual Position(0x40)
		// Update encoder
		if(is_update_encoder == 0){
			is_update_encoder = 1;
		}
		if(mode == RUNNING){
//			static uint8_t timestamp = 0;
//			if(start_position_control == 0 && timestamp == 10){
//				start_position_control = 1;
//				timestamp = 0;
//			}
//			timestamp++;
		}
		if(mode == HOMING){
			// Homing state
			homing(&home, GPIOB, GPIO_PIN_12); // Homing function
			pwm_signal = home.pwm;
			Update_pwm(&pwm_tim, pwm_channel, dir_gpio, dir_pin, pwm_signal); // Update main PWM signal
		}
	}
}
// GPIO interrupt
void HAL_GPIO_EXTI_Callback(uint16_t GPIO_Pin){
	// Activate and Deactivate testing mode
	if(GPIO_Pin == GPIO_PIN_13){
		static uint8_t travel_mode = 0;
		if(travel_mode == 0){
			travel_mode = 1;
			max_acceleration = 3000;
			jog_delay = 500;
		}
		else{
			travel_mode = 0;
			max_acceleration = 1000;
			jog_delay = 300;
		}
	}
}
// Acceleration compute
float acc_compute(float v){
	static float velo[2] = {0.0};
	static float acc = 0.0;
	velo[0] = v;
	acc = (velo[0] - velo[1]) * 1000.0;
	velo[1] = velo[0];
	return acc;
}

// Torque control update
void Update_torque_control(double s){

}
// Velocity control update
void Update_velocity_control(double s){
	// input is millimeter unit
	v_e = s - Get_mmps(&encoder);
	v_output = floor((Update_pid(&v_pid, v_e, 24.0, 24.0)));
}
// Position control update
void Update_position_control(double s){
	//input is pulse unit
	p_e = s - Get_mm(&encoder);
	if(p_e >= -0.1 && p_e <= 0.1){
		static uint64_t timestamp = 0;
		static uint8_t first = 1;
		if(first == 1){
			timestamp = HAL_GetTick() + 50;
			first = 0;
		}
		if(HAL_GetTick() > timestamp){
			if(p_e >= -0.1 && p_e <= 0.1){
				p_pid.y_n = 0.0;
				p_pid.y_n_1 = 0.0;
				p_output = 0.0;
				is_finish_position = 1;
			}
			first = 1;
		}
	}
	else{
		p_output = Update_pid(&p_pid, p_e, 650.0, 650.0);
		is_finish_position = 0;
	}
}
// Reset variable function
void Reset_main_variable(){
	// Reset point reset
	setpoint = 0.0;
	x_axis_position = 0.0;
	// Reset PWM signal
	pwm_signal = 0;
	// Encoder compute enable
	is_update_encoder = 0;
	// Reset trajectory
	initial_position = 0.0;
	target_position = 0.0;
	evaScurveData.setposition = 0.0;
	evaScurveData.setvelocity = 0.0;
	evaScurveData.setacceleration = 0.0;
	evaScurveData.t = 0.0;
	computeTrapezoidalData.set_pos = 0.0;
	computeTrapezoidalData.set_vel = 0.0;
	computeTrapezoidalData.t = 0.0;
	// Reset homing data
	Reset_homing(&home);
	// Reset state enable
	pick_index = 0;
	place_index = 0;
	state = 0;
	ready = 0;
	test = 0;
	// Reset MODBUS
	registerFrame[0x10].U16 = 0;
	registerFrame[0x01].U16 = 0;
	// Reset encoder
	Reset_qei(&encoder, &htim4);
	// Reset lowpass
	Reset_lowpass(&lowpass);
	// Reset PID
	is_finish_position = 0;
	p_e = 0.0;
	p_output = 0.0;
	v_e = 0.0;
	v_output = 0;
	Reset_pid(&p_pid);
	Reset_pid(&v_pid);
}
/* USER CODE END 4 */

void Error_Handler(void)
{
  __disable_irq();
  while (1)
  {
  }
}
